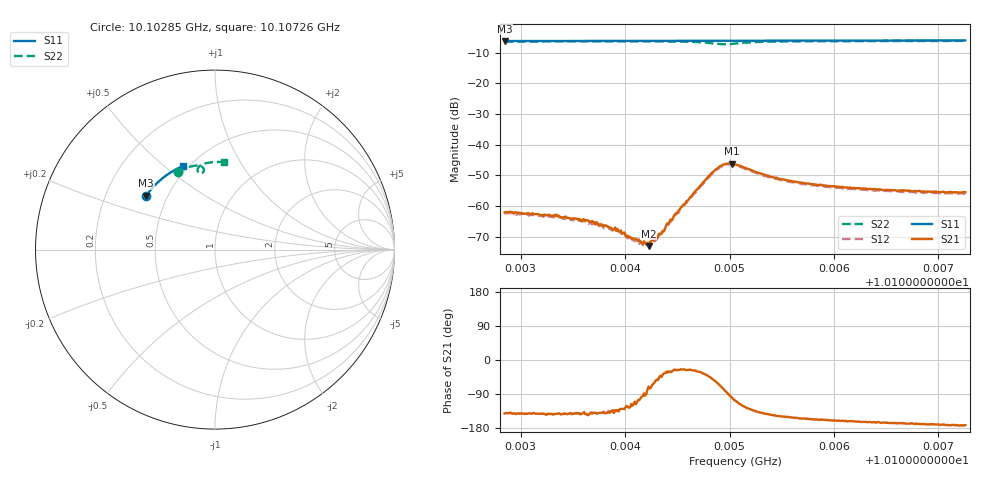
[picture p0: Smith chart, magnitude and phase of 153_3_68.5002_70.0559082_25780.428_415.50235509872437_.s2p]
#  HZ  S  RI  R  50.00
! Rohde & Schwarz Vector Network Analyzer
! Rohde-Schwarz,ZNB20-2Port,1311601062101988,3.16
! Created: UTC 3/20/2024, 5:10:37 PM
! freq[Hz]  re:S11  im:S11  re:S21  im:S21  re:S12  im:S12  re:S22  im:S22
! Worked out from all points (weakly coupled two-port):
!   401 points, 10.10285 GHz to 10.10726 GHz, reference 50 ohm
!   highest |S21| = -46.13 dB at 10.10502 GHz (marker M1); lowest = -73.0 dB at 10.10422 GHz (marker M2)
!   lowest |S11| = -6.2 dB at 10.10285 GHz (marker M3), VSWR 2.90, Z = 19 + j15 ohm
!   |S11| at or under -10 dB: nowhere
!   |S22| runs from -7.3 to -6.2 dB; largest |S21 - S12| = 0.0005
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1.0102846e10  -0.3834 0.301  -0.000612 -0.000495  -0.000562 -0.000529  -0.2088 0.4319
1.0103342e10  -0.3651 0.3252  -0.000574 -0.000443  -0.000484 -0.000427  -0.1793 0.4464
1.0103585e10  -0.3558 0.3365  -0.000445 -0.000353  -0.000427 -0.000364  -0.1638 0.4528
1.0103706e10  -0.3508 0.342  -0.000413 -0.000359  -0.000363 -0.000355  -0.1561 0.4559
1.0103905e10  -0.3426 0.3509  -0.000301 -0.000333  -0.000275 -0.000309  -0.1427 0.4602
1.0103971e10  -0.34 0.3539  -0.000224 -0.000274  -0.000217 -0.000263  -0.1382 0.4616
1.0104026e10  -0.3376 0.3562  -0.00018 -0.000274  -0.000139 -0.000263  -0.1343 0.4628
1.0104147e10  -0.3325 0.3616  -5.09e-05 -0.000261  -3.07e-05 -0.000254  -0.1253 0.4652
1.0104225e10  -0.3291 0.3648  7.66e-05 -0.000212  5.88e-05 -0.000215  -0.1194 0.4665
1.0104302e10  -0.3258 0.3682  0.00019 -0.000238  0.000189 -0.000217  -0.1133 0.4674
1.0104324e10  -0.3249 0.3691  0.000241 -0.000258  0.000241 -0.000204  -0.1114 0.4678
1.0104357e10  -0.3234 0.3705  0.000298 -0.000248  0.00032 -0.000216  -0.1085 0.4682
1.0104412e10  -0.321 0.3729  0.000428 -0.000278  0.000437 -0.000223  -0.1037 0.4685
1.0104489e10  -0.3174 0.376  0.000676 -0.000348  0.000715 -0.000265  -0.0964 0.4687
1.010482e10  -0.3022 0.3891  0.00229 -0.00242  0.00237 -0.0021  -0.0623 0.4471
1.010492e10  -0.2977 0.3929  0.0015 -0.00431  0.00184 -0.00397  -0.0685 0.4285
1.0105019e10  -0.2932 0.3966  -0.000739 -0.00488  -0.000276 -0.00471  -0.089 0.428
1.0105052e10  -0.2918 0.3979  -0.00141 -0.0046  -0.000926 -0.00452  -0.0936 0.4326
1.0105405e10  -0.2749 0.4111  -0.00245 -0.00172  -0.0022 -0.00183  -0.0775 0.4712
1.0105791e10  -0.2556 0.4243  -0.00209 -0.000922  -0.00191 -0.00104  -0.0469 0.4819
1.010653e10  -0.217 0.4471  -0.00178 -0.000436  -0.00167 -0.000579  0.00438 0.4882
1.0107259e10  -0.1773 0.466  -0.00166 -0.000236  -0.00157 -0.000317  0.0523 0.4876
